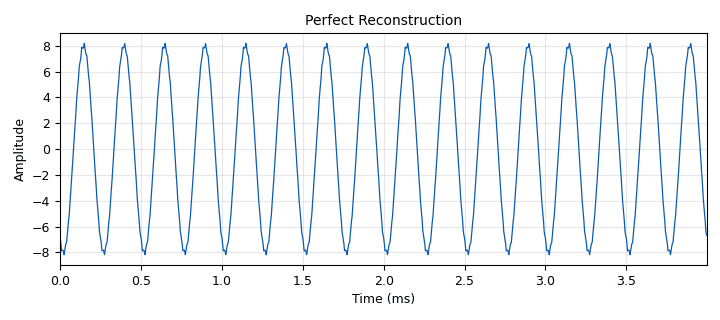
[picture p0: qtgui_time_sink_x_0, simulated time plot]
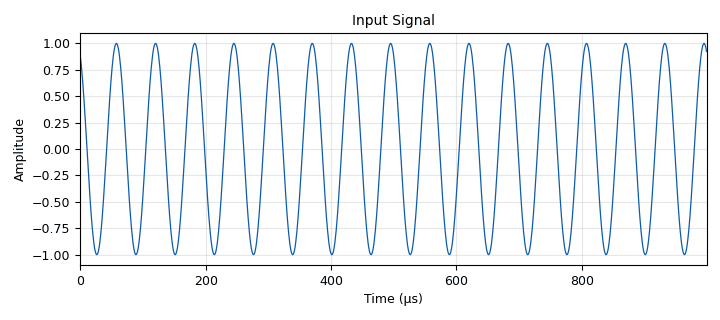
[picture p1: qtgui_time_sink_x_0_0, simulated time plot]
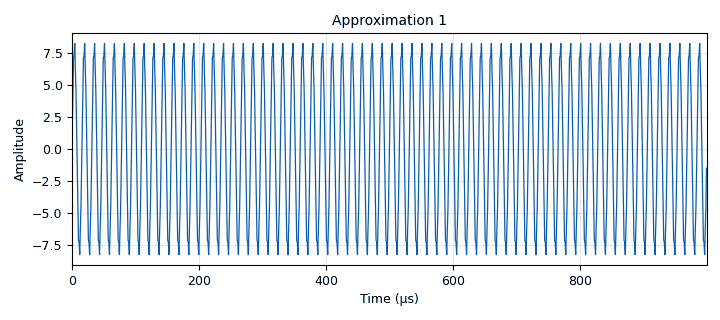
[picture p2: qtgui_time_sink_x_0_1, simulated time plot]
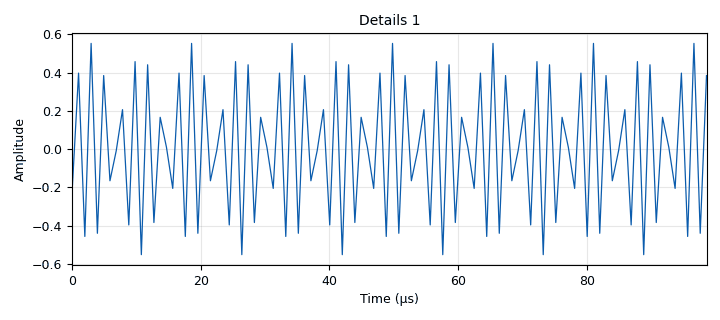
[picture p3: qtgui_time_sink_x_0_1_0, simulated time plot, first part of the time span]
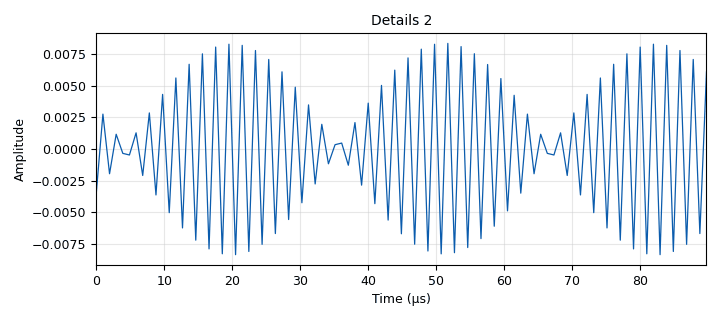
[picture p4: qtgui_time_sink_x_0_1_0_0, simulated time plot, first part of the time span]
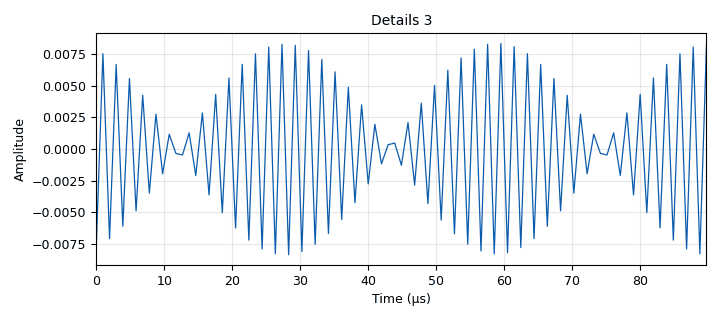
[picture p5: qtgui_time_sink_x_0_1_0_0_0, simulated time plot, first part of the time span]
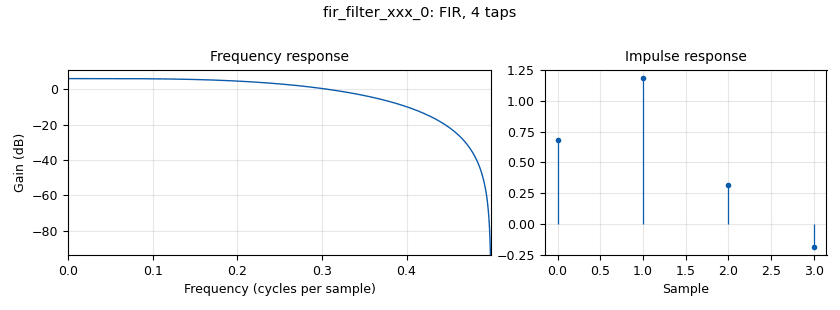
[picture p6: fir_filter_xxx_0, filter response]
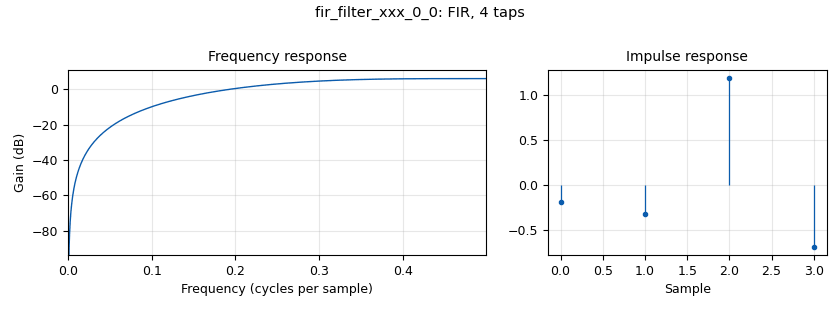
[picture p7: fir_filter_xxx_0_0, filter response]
options:
  parameters:
    author: perazaharmonics
    generate_options: qt_gui
    id: DaubechiesDec3
    output_language: python
    title: Daubechies3
  states: {}

blocks:
- name: frequency
  id: variable_qtgui_range
  parameters:
    start: '-samp_rate/2'
    step: '1'
    stop: samp_rate/2
    value: '16000'
  states: {}
- name: g
  id: variable
  parameters:
    value: '[h[3], -h[2], h[1], -h[0]]'
  states: {}
- name: g_inv
  id: variable
  parameters:
    value: '[-h_inv[3], h_inv[2], -h_inv[1], h_inv[0]]'
  states: {}
- name: h
  id: variable
  parameters:
    value: '[(1 + np.sqrt(3))/4, (3 + np.sqrt(3))/4, (3 - np.sqrt(3))/4, (1 - np.sqrt(3))/4]'
  states: {}
- name: h_inv
  id: variable
  parameters:
    value: '[(1 - np.sqrt(3)) / 4, (3 - np.sqrt(3)) / 4, (3 + np.sqrt(3)) / 4, (1 + np.sqrt(3)) / 4]'
  states: {}
- name: samp_rate
  id: variable
  parameters:
    value: '256000'
  states: {}
- name: analog_sig_source_x_0
  id: analog_sig_source_x
  parameters:
    amp: '1'
    freq: frequency
    offset: '0'
    phase: '0'
    samp_rate: 4*samp_rate
    type: float
    waveform: analog.GR_SIN_WAVE
  states: {}
- name: blocks_add_xx_0
  id: blocks_add_xx
  parameters:
    type: float
  states: {}
- name: blocks_add_xx_0_0
  id: blocks_add_xx
  parameters:
    type: float
  states: {}
- name: blocks_add_xx_0_0_0
  id: blocks_add_xx
  parameters:
    type: float
  states: {}
- name: blocks_throttle_0_0_0
  id: blocks_throttle
  parameters:
    samples_per_second: samp_rate
    type: float
  states: {}
- name: fir_filter_xxx_0
  id: fir_filter_xxx
  parameters:
    decim: '2'
    taps: h
    type: fff
  states: {}
- name: fir_filter_xxx_0_0
  id: fir_filter_xxx
  parameters:
    decim: '2'
    taps: g
    type: fff
  states: {}
- name: fir_filter_xxx_0_0_0
  id: fir_filter_xxx
  parameters:
    decim: '2'
    taps: g
    type: fff
  states: {}
- name: fir_filter_xxx_0_1
  id: fir_filter_xxx
  parameters:
    decim: '2'
    taps: h
    type: fff
  states: {}
- name: fir_filter_xxx_0_1_0
  id: fir_filter_xxx
  parameters:
    decim: '2'
    taps: h
    type: fff
  states: {}
- name: fir_filter_xxx_0_1_0_0
  id: fir_filter_xxx
  parameters:
    decim: '2'
    taps: g
    type: fff
  states: {}
- name: import_0
  id: import
  parameters:
    imports: import numpy as np
  states: {}
- name: interp_fir_filter_xxx_0
  id: interp_fir_filter_xxx
  parameters:
    interp: '2'
    taps: h_inv
    type: fff
  states: {}
- name: interp_fir_filter_xxx_0_0
  id: interp_fir_filter_xxx
  parameters:
    interp: '2'
    taps: g_inv
    type: fff
  states: {}
- name: interp_fir_filter_xxx_0_0_0
  id: interp_fir_filter_xxx
  parameters:
    interp: '2'
    taps: g_inv
    type: fff
  states: {}
- name: interp_fir_filter_xxx_0_0_1
  id: interp_fir_filter_xxx
  parameters:
    interp: '2'
    taps: g_inv
    type: fff
  states: {}
- name: interp_fir_filter_xxx_0_1
  id: interp_fir_filter_xxx
  parameters:
    interp: '2'
    taps: h_inv
    type: fff
  states: {}
- name: interp_fir_filter_xxx_0_2
  id: interp_fir_filter_xxx
  parameters:
    interp: '2'
    taps: h_inv
    type: fff
  states: {}
- name: qtgui_time_sink_x_0
  id: qtgui_time_sink_x
  parameters:
    autoscale: 'True'
    name: '"Perfect Reconstruction"'
    size: '1024'
    srate: samp_rate
    type: float
  states: {}
- name: qtgui_time_sink_x_0_0
  id: qtgui_time_sink_x
  parameters:
    autoscale: 'True'
    name: '"Input Signal"'
    size: '1024'
    srate: 4*samp_rate
    type: float
  states: {}
- name: qtgui_time_sink_x_0_1
  id: qtgui_time_sink_x
  parameters:
    autoscale: 'True'
    name: '"Approximation 1"'
    size: '1024'
    srate: 4*samp_rate
    type: float
  states: {}
- name: qtgui_time_sink_x_0_1_0
  id: qtgui_time_sink_x
  parameters:
    autoscale: 'True'
    name: '"Details 1"'
    size: '1024'
    srate: 4*samp_rate
    type: float
  states: {}
- name: qtgui_time_sink_x_0_1_0_0
  id: qtgui_time_sink_x
  parameters:
    autoscale: 'True'
    name: '"Details 2"'
    size: '1024'
    srate: 4*samp_rate
    type: float
  states: {}
- name: qtgui_time_sink_x_0_1_0_0_0
  id: qtgui_time_sink_x
  parameters:
    autoscale: 'True'
    name: '"Details 3"'
    size: '1024'
    srate: 4*samp_rate
    type: float
  states: {}
- name: qtgui_time_sink_x_0_1_1
  id: qtgui_time_sink_x
  parameters:
    autoscale: 'True'
    name: '"Approximation 2"'
    size: '1024'
    srate: 4*samp_rate
    type: float
  states: {}
- name: qtgui_time_sink_x_0_1_1_0
  id: qtgui_time_sink_x
  parameters:
    autoscale: 'True'
    name: '"Approximation 3"'
    size: '1024'
    srate: 4*samp_rate
    type: float
  states: {}
- name: virtual_sink_0
  id: virtual_sink
  parameters:
    stream_id: signal
  states: {}
- name: virtual_source_0
  id: virtual_source
  parameters:
    stream_id: signal
  states: {}

connections:
- [analog_sig_source_x_0, '0', virtual_sink_0, '0']
- [blocks_add_xx_0, '0', interp_fir_filter_xxx_0_2, '0']
- [blocks_add_xx_0_0, '0', interp_fir_filter_xxx_0_1, '0']
- [blocks_add_xx_0_0_0, '0', qtgui_time_sink_x_0, '0']
- [blocks_throttle_0_0_0, '0', fir_filter_xxx_0, '0']
- [blocks_throttle_0_0_0, '0', fir_filter_xxx_0_0, '0']
- [blocks_throttle_0_0_0, '0', fir_filter_xxx_0_0_0, '0']
- [fir_filter_xxx_0, '0', fir_filter_xxx_0_1, '0']
- [fir_filter_xxx_0_0, '0', interp_fir_filter_xxx_0_0_0, '0']
- [fir_filter_xxx_0_0_0, '0', interp_fir_filter_xxx_0_0_1, '0']
- [fir_filter_xxx_0_1, '0', fir_filter_xxx_0_1_0, '0']
- [fir_filter_xxx_0_1, '0', fir_filter_xxx_0_1_0_0, '0']
- [fir_filter_xxx_0_1_0, '0', interp_fir_filter_xxx_0, '0']
- [fir_filter_xxx_0_1_0_0, '0', interp_fir_filter_xxx_0_0, '0']
- [interp_fir_filter_xxx_0, '0', blocks_add_xx_0, '0']
- [interp_fir_filter_xxx_0, '0', qtgui_time_sink_x_0_1, '0']
- [interp_fir_filter_xxx_0_0, '0', blocks_add_xx_0, '1']
- [interp_fir_filter_xxx_0_0, '0', qtgui_time_sink_x_0_1_0, '0']
- [interp_fir_filter_xxx_0_0_0, '0', blocks_add_xx_0_0, '1']
- [interp_fir_filter_xxx_0_0_0, '0', qtgui_time_sink_x_0_1_0_0, '0']
- [interp_fir_filter_xxx_0_0_1, '0', blocks_add_xx_0_0_0, '1']
- [interp_fir_filter_xxx_0_0_1, '0', qtgui_time_sink_x_0_1_0_0_0, '0']
- [interp_fir_filter_xxx_0_1, '0', blocks_add_xx_0_0_0, '0']
- [interp_fir_filter_xxx_0_1, '0', qtgui_time_sink_x_0_1_1_0, '0']
- [interp_fir_filter_xxx_0_2, '0', blocks_add_xx_0_0, '0']
- [interp_fir_filter_xxx_0_2, '0', qtgui_time_sink_x_0_1_1, '0']
- [virtual_source_0, '0', blocks_throttle_0_0_0, '0']
- [virtual_source_0, '0', qtgui_time_sink_x_0_0, '0']

metadata:
  file_format: 1
